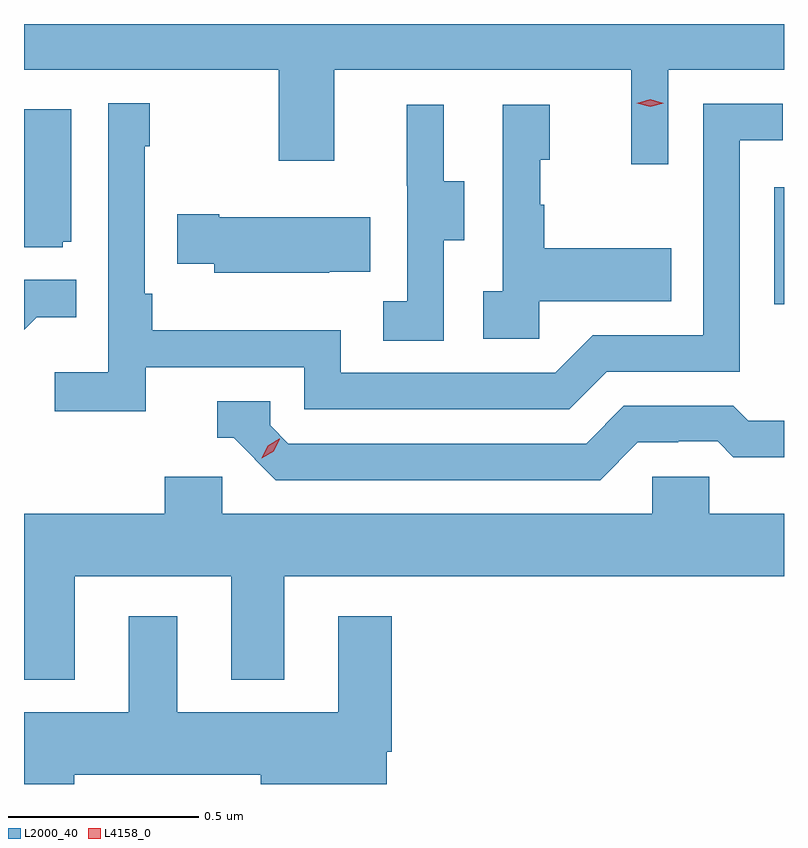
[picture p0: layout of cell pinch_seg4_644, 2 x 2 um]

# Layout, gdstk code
import gdstk
lib = gdstk.Library(unit=1e-6, precision=1e-09)
def R(c, l, rs):  # rectangles x0, y0, x1, y1
    for r in rs: c.add(gdstk.rectangle(r[:2], r[2:], *l))
def P(c, l, *ps):  # polygons
    for p in ps: c.add(gdstk.Polygon(p, *l))
L2000_40 = (2000, 40)
L4158_0 = (4158, 0)

pinch_seg4_644 = lib.new_cell('pinch_seg4_644')
R(pinch_seg4_644, L2000_40, [(1031.154,762.903,1031.18,763.212)])
P(pinch_seg4_644, L2000_40, [(1030.875,763.52),(1031.18,763.52),(1031.18,763.641),(1029.18,763.641),(1029.18,763.52),(1029.85,763.52),(1029.85,763.281),(1029.997,763.281),(1029.997,763.52),(1030.778,763.52),(1030.778,763.272),(1030.875,763.272)],
  [(1029.5,762.738),(1029.918,762.738),(1029.918,762.627),(1030.615,762.627),(1030.714,762.726),(1031.064,762.726),(1031.064,763.335),(1031.177,763.335),(1031.177,763.431),(1030.968,763.431),(1030.968,762.822),(1030.677,762.822),(1030.578,762.723),(1030.014,762.723),(1030.014,762.835),(1029.518,762.835),(1029.518,762.931),(1029.498,762.931),(1029.498,763.319),(1029.511,763.319),(1029.511,763.432),(1029.402,763.432),(1029.402,762.724),(1029.261,762.724),(1029.261,762.622),(1029.5,762.622)],
  [(1030.284,763.072),(1030.339,763.072),(1030.339,763.227),(1030.285,763.227),(1030.285,763.429),(1030.187,763.429),(1030.187,763.215),(1030.188,763.215),(1030.188,762.911),(1030.125,762.911),(1030.125,762.808),(1030.284,762.808)],
  [(1030.536,762.911),(1030.883,762.911),(1030.883,763.051),(1030.549,763.051),(1030.549,763.166),(1030.539,763.166),(1030.539,763.284),(1030.564,763.284),(1030.564,763.429),(1030.44,763.429),(1030.44,762.938),(1030.389,762.938),(1030.389,762.813),(1030.536,762.813)],
  [(1029.282,763.068),(1029.304,763.068),(1029.304,763.417),(1029.18,763.417),(1029.18,763.053),(1029.282,763.053)],
  [(1029.983,762.989),(1030.091,762.989),(1030.091,763.132),(1029.694,763.132),(1029.694,763.14),(1029.583,763.14),(1029.583,763.01),(1029.681,763.01),(1029.681,762.986),(1029.983,762.986)],
  [(1029.213,762.869),(1029.317,762.869),(1029.317,762.968),(1029.18,762.968),(1029.18,762.836)],
  [(1030.795,762.54),(1030.902,762.54),(1030.902,762.543),(1031.005,762.543),(1031.047,762.501),(1031.18,762.501),(1031.18,762.597),(1031.086,762.597),(1031.047,762.636),(1030.758,762.636),(1030.659,762.537),(1029.876,762.537),(1029.828,762.585),(1029.828,762.648),(1029.689,762.648),(1029.689,762.552),(1029.732,762.552),(1029.843,762.441),(1030.696,762.441)],
  [(1029.313,762.188),(1029.725,762.188),(1029.725,761.915),(1029.865,761.915),(1029.865,762.188),(1031.18,762.188),(1031.18,762.352),(1030.983,762.352),(1030.983,762.45),(1030.833,762.45),(1030.833,762.352),(1029.702,762.352),(1029.702,762.45),(1029.551,762.45),(1029.551,762.352),(1029.18,762.352),(1029.18,761.915),(1029.313,761.915)],
  [(1029.312,761.666),(1029.803,761.666),(1029.803,761.641),(1030.135,761.641),(1030.135,761.726),(1030.148,761.726),(1030.148,762.082),(1030.007,762.082),(1030.007,761.83),(1029.583,761.83),(1029.583,762.082),(1029.455,762.082),(1029.455,761.83),(1029.18,761.83),(1029.18,761.641),(1029.312,761.641)])
P(pinch_seg4_644, L4158_0, [(1030.828,763.423),(1030.792,763.433),(1030.792,763.433),(1030.792,763.433),(1030.828,763.443),(1030.864,763.433),(1030.864,763.432),(1030.864,763.432)],
  [(1029.806,762.498),(1029.806,762.498),(1029.822,762.531),(1029.852,762.55),(1029.853,762.55),(1029.853,762.55),(1029.837,762.517),(1029.806,762.498)])

lib.write_gds('pinch_seg4_644.gds')
